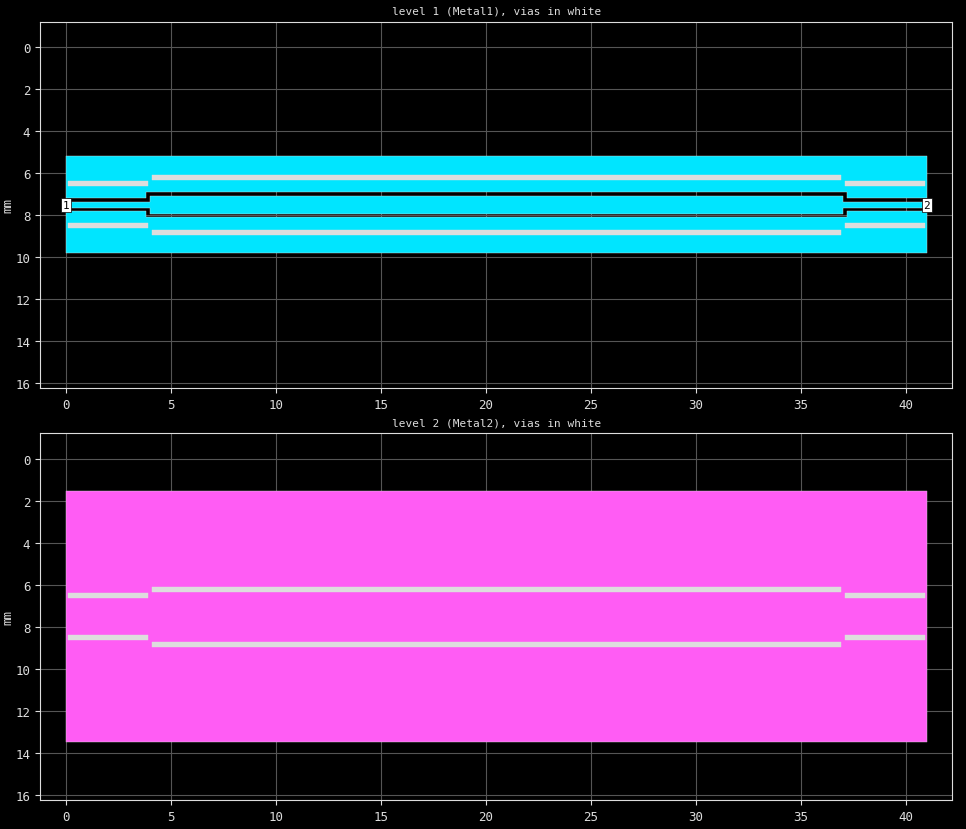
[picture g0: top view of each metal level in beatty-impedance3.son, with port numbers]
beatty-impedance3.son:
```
FTYP SONPROJ 19 ! Sonnet Project File
VER 18.01
HEADER
LIC antikernel2.1.51012 90e2ba8817c1 havequick azonenberg Level3Gold
DAT 08/25/2021 15:50:59
BUILT_BY_CREATED dxf 17.52.2 05/01/2020 05:35:06
BUILT_BY_SAVED sonnet 18.01
MDATE 08/25/2021 15:50:59
HDATE 08/25/2021 15:50:59
ANN Created by dxfgeo, Sonnet Software Inc.
END HEADER
DIM
ANG DEG
CAP PF
CON /OH
FREQ GHZ
IND NH
LNG MM
RES OH
END DIM
CONTROL
VARSWP
OPTIONS  -dj
SPEED 1
CACHE_ABS 1
Q_ACC N
END CONTROL
GEO
SYM
DRP1 LEFT NONE 10
DRP1 RIGHT NONE 10
TMET "Free Space" 0 FREESPACE 376.7303136 0 0 0
BMET "Free Space" 0 FREESPACE 376.7303136 0 0 0
MET "Copper 1oz thick" 2 TMM 58000000 0.5 0.035 2
MET "Nickel " 3 TMM 14300000 0.5 3.5e-05 2
MET "Copper 0.5oz" 1 NOR 58000000 0.5 0.0175 
MET "Unknown_metal" 1 NOR INF 0.5 0 
MET "Copper 0.25mm thick" 4 TMM 58000000 0.5 0.25 2
MET "Brass 0.8mm" 11 TMM 15700000 0.5 0.8 2
MET "Unknown_metal" 1 VOL INF 0
BRI "Alumina (96%)" 0 9.4 0.0004 0 
BRI "Alumina (99.5%)" 0 9.9 0.0001 0 
BRI "Aluminum Nitride" 0 8.6 0.0003 0 
BRI "Arlon 25FR" 0 3.58 0.0035 0 
BRI "Arlon 25N" 0 3.38 0.0025 0 
BRI "Arlon AD5" 0 5.1 0.003 0 
BRI "Arlon AD10" 0 10.2 0.005 0 
BRI "Arlon AD250" 0 2.5 0.0018 0 
BRI "Arlon AD255A" 0 2.55 0.0015 0 
BRI "Arlon AD260A" 0 2.6 0.0018 0 
BRI "Arlon AD270" 0 2.7 0.0023 0 
BRI "Arlon AD300A" 0 3 0.002 0 
BRI "Arlon AD320A" 0 3.2 0.0032 0 
BRI "Arlon AD350A" 0 3.5 0.003 0 
BRI "Arlon AD410" 0 4.1 0.003 0 
BRI "Arlon AD430" 0 4.3 0.003 0 
BRI "Arlon AD450" 0 4.5 0.0035 0 
BRI "Arlon AD600" 0 6.15 0.003 0 
BRI "Arlon AD1000" 0 10.2 0.0023 0 
BRI "Arlon AR1000" 0 9.8 0.003 0 
BRI "Arlon CLTE" 0 2.96 0.0023 0 
BRI "Arlon CLTE-AT" 0 3 0.0013 0 
BRI "Arlon CLTE-P" 0 2.94 0.0025 0 
BRI "Arlon CLTE-XT" 0 2.94 0.0012 0 
BRI "Arlon Cu 217LX" 0 2.17 0.0009 0 
BRI "Arlon Cu 233LX" 0 2.33 0.0013 0 
BRI "Arlon Cu 250GT" 0 2.5 0.001 0 
BRI "Arlon Cu 250GX" 0 2.5 0.0018 0 
BRI "Arlon Cu 6250" 0 2.32 0.0013 0 
BRI "Arlon Cu 6700" 0 2.35 0.0025 0 
BRI "Arlon Di 522" 0 2.5 0.001 0 
BRI "Arlon Di 527" 0 2.5 0.0018 0 
BRI "Arlon Di 870" 0 2.33 0.0013 0 
BRI "Arlon Di 880" 0 2.17 0.0009 0 
BRI "Arlon Iso 917" 0 2.17 0.0013 0 
BRI "Arlon Iso 933" 0 2.33 0.0016 0 
BRI "Arlon Multi HF" 0 3.7 0.004 0 
BRI "Arlon TC350" 0 3.5 0.002 0 
BRI "Arlon TC600" 0 6.15 0.002 0 
BRI "Beryllia (99.5%)" 0 6.5 0.0004 0 
BRI "CEM-1" 0 4.5 0.02 0 
BRI "CEM-3" 0 4.5 0.02 0 
BRI "Dupont 9K7" 0 7.1 0.0012 0 
BRI "Dupont 943" 0 7.4 0.002 0 
BRI "Dupont 951" 0 7.8 0.006 0 
BRI "Dupont FEP" 0 2 0.0005 0 
BRI "Dupont Vacrel" 0 3.8 0.011 0 
BRI "ESL 41010" 0 7.5 0.005 0 
BRI "ESL 41020" 0 7.25 0.005 0 
BRI "ESL 41050" 0 13.5 0.002 0 
BRI "ESL 41060" 0 16.5 0.002 0 
BRI "ESL 41110" 0 4.5 0.004 0 
BRI "Ferro A6M" 0 5.9 0.002 0 
BRI "Ferro A6S" 0 5.9 0.002 0 
BRI "Ferro L8" 0 7.3 0.0018 0 
BRI "FR-4" 0 4.4 0.02 0 
BRI "G-10" 0 4.8 0.025 0 
BRI "Gallium Arsenide" 0 12.9 0.006 0 
BRI "Gallium Nitride" 0 9.7 0 0 
BRI "Glass (Pyrex)" 0 4.82 0.0054 0 
BRI "Heraeus HL2000" 0 7.3 0.0026 0 
BRI "Isola 370HR" 0 4.04 0.021 0 
BRI "Isola FR408" 0 3.77 0.0116 0 
BRI "Isola FR408HR" 0 3.68 0.0092 0 
BRI "Isola Getek" 0 3.6 0.01 0 
BRI "Isola GI-180" 0 3.7 0.013 0 
BRI "Isola IS415" 0 3.82 0.0125 0 
BRI "Isola IS620i" 0 3.58 0.006 0 
BRI "Isola IS680-280" 0 2.8 0.0025 0 
BRI "Isola IS680-300" 0 3 0.003 0 
BRI "Isola IS680-320" 0 3.2 0.003 0 
BRI "Isola IS680-333" 0 3.33 0.003 0 
BRI "Isola IS680-338" 0 3.38 0.0032 0 
BRI "Isola IS680-345" 0 3.45 0.0036 0 
BRI "Kerafol CT800" 0 5.3 0.008 0 
BRI "Nelco MW9350" 0 3.7 0.004 0 
BRI "Nelco N4000-12" 0 3.7 0.008 0 
BRI "Nelco N4000-13" 0 3.7 0.009 0 
BRI "Nelco N4000-13SI" 0 3.2 0.007 0 
BRI "Nelco N4000-13EP" 0 3.7 0.008 0 
BRI "Nelco N4350-13RF" 0 3.5 0.0065 0 
BRI "Nelco N4380-13RF" 0 3.8 0.007 0 
BRI "Nelco N9300-13RF" 0 3 0.004 0 
BRI "Nelco N9320-13RF" 0 3.2 0.0045 0 
BRI "Nelco N9338-13RF" 0 3.38 0.0046 0 
BRI "Nelco N9350-13RF" 0 3.48 0.0055 0 
BRI "Nelco NH9294" 0 2.94 0.0022 0 
BRI "Nelco NH9300" 0 3 0.0023 0 
BRI "Nelco NH9320" 0 3.2 0.0024 0 
BRI "Nelco NH9338" 0 3.38 0.0025 0 
BRI "Nelco NH9348" 0 3.48 0.003 0 
BRI "Nelco NH9350" 0 3.5 0.003 0 
BRI "Nelco NH9410" 0 4.1 0.003 0 
BRI "Nelco NH9450" 0 4.5 0.003 0 
BRI "Nelco NX9240" 0 2.4 0.0016 0 
BRI "Nelco NX9245" 0 2.45 0.0016 0 
BRI "Nelco NX9250" 0 2.5 0.0017 0 
BRI "Nelco NX9255" 0 2.55 0.0018 0 
BRI "Nelco NX9260" 0 2.6 0.0019 0 
BRI "Nelco NY9208" 0 2.08 0.0006 0 
BRI "Nelco NY9217" 0 2.17 0.0008 0 
BRI "Nelco NY9220" 0 2.2 0.0009 0 
BRI "Nelco NY9233" 0 2.33 0.0011 0 
BRI "PET" 0 3.37 0.0208 0 
BRI "Polyimide" 0 3.5 0.003 0 
BRI "Quartz (Fused)" 0 3.78 0.0001 0 
BRI "Rogers 3001" 0 2.28 0.003 0 
BRI "Rogers RO2808" 0 7.6 0.0015 0 
BRI "Rogers RO3003" 0 3 0.0013 0 
BRI "Rogers RO3006" 0 6.5 0.002 0 
BRI "Rogers RO3010" 0 11.2 0.0022 0 
BRI "Rogers RO3035" 0 3.6 0.0018 0 
BRI "Rogers RO3203" 0 3.02 0.0016 0 
BRI "Rogers RO3206" 0 6.6 0.0027 0 
BRI "Rogers RO3210" 0 10.8 0.0027 0 
BRI "Rogers RO3730" 0 3 0.0016 0 
BRI "Rogers RO4003C" 0 3.55 0.0029 0 
BRI "Rogers RO4533" 0 3.45 0.0029 0 
BRI "Rogers RO4534" 0 3.4 0.003 0 
BRI "Rogers RO4350B" 0 3.66 0.0037 0 
BRI "Rogers RO4350BTX" 0 3.66 0.0034 0 
BRI "Rogers RO4360" 0 6.15 0.0038 0 
BRI "Rogers RO4450B-3.6" 0 3.3 0.0043 0 
BRI "Rogers RO4450B-4" 0 3.54 0.004 0 
BRI "Rogers RO4450F" 0 3.52 0.0041 0 
BRI "Rogers RO4730" 0 3 0.0033 0 
BRI "Rogers RT5870" 0 2.33 0.0012 0 
BRI "Rogers RT5880" 0 2.2 0.0009 0 
BRI "Rogers RT5880LZ" 0 1.96 0.0019 0 
BRI "Rogers RT6002" 0 2.94 0.0012 0 
BRI "Rogers RT6006" 0 6.15 0.0027 0 
BRI "Rogers RT6010LM" 0 10.9 0.0023 0 
BRI "Rogers RT6035HTC" 0 3.6 0.0013 0 
BRI "Rogers RT6202" 0 2.94 0.0015 0 
BRI "Rogers RT6202PR" 0 2.95 0.0015 0 
BRI "Rogers Syron7000" 0 3.4 0.0045 0 
BRI "Rogers Syron7100-2" 0 3.61 0.006 0 
BRI "Rogers Syron7100-4" 0 3.39 0.005 0 
BRI "Rogers Theta" 0 4.01 0.0118 0 
BRI "Rogers TMM 3" 0 3.39 0.002 0 
BRI "Rogers TMM 4" 0 4.5 0.002 0 
BRI "Rogers TMM 6" 0 6 0.0023 0 
BRI "Rogers TMM 10" 0 9.56 0.0022 0 
BRI "Rogers TMM 10i" 0 9.96 0.002 0 
BRI "Rogers UL2000" 0 2.5 0.0019 0 
BRI "Rogers UL3850" 0 3.05 0.0025 0 
BRI "Rogers UL3908" 0 2.9 0.0025 0 
BRI "Rogers XT8000" 0 3.34 0.0035 0 
BRI "Rogers XT8100-2" 0 3.54 0.0049 0 
BRI "Rogers XT8100-4" 0 3.32 0.0038 0 
BRI "Silicon (intrinsic)" 0 11.9 0.004 0.00044 
BRI "Silicon Dioxide" 0 3.9 0 0 
BRI "Silicon Nitride" 0 7.5 0 0 
BRI "Taconic CER-10" 0 10 0.0035 0 
BRI "Taconic FastFilm" 0 2.7 0.0012 0 
BRI "Taconic Fastrise-DS" 0 2.96 0.0018 0 
BRI "Taconic Fastrise27" 0 2.7 0.0014 0 
BRI "Taconic Fastrise77" 0 7.7 0.0034 0 
BRI "Taconic FEP" 0 2 0.0003 0 
BRI "Taconic RF-30" 0 3 0.0014 0 
BRI "Taconic RF-35" 0 3.5 0.0018 0 
BRI "Taconic RF-35A2" 0 3.5 0.0011 0 
BRI "Taconic RF-35P" 0 3.5 0.0025 0 
BRI "Taconic RF-41" 0 4.1 0.0038 0 
BRI "Taconic RF-43" 0 4.3 0.0033 0 
BRI "Taconic RF-45" 0 4.5 0.0037 0 
BRI "Taconic RF-60A" 0 6.15 0.0038 0 
BRI "Taconic RF-301" 0 2.97 0.0012 0 
BRI "Taconic TacBond HT" 0 2.35 0.0025 0 
BRI "Taconic TLA-6" 0 2.62 0.0012 0 
BRI "Taconic TLC-27" 0 2.75 0.003 0 
BRI "Taconic TLC-30" 0 3 0.003 0 
BRI "Taconic TLC-32" 0 3.2 0.003 0 
BRI "Taconic TLE-95" 0 2.95 0.0028 0 
BRI "Taconic TLF-34" 0 3.4 0.002 0 
BRI "Taconic TLF-35" 0 3.5 0.002 0 
BRI "Taconic TLP-3" 0 2.33 0.0009 0 
BRI "Taconic TLP-5" 0 2.2 0.0009 0 
BRI "Taconic TLP-5A" 0 2.17 0.0009 0 
BRI "Taconic TLT-0" 0 2.45 0.0006 0 
BRI "Taconic TLT-9" 0 2.5 0.0006 0 
BRI "Taconic TLT-8" 0 2.55 0.0006 0 
BRI "Taconic TLT-7" 0 2.6 0.0006 0 
BRI "Taconic TLT-6" 0 2.65 0.0006 0 
BRI "Taconic TLX-0" 0 2.45 0.0019 0 
BRI "Taconic TLX-9" 0 2.5 0.0019 0 
BRI "Taconic TLX-8" 0 2.55 0.0019 0 
BRI "Taconic TLX-7" 0 2.6 0.0019 0 
BRI "Taconic TLX-6" 0 2.65 0.0019 0 
BRI "Taconic TLY-3" 0 2.33 0.0009 0 
BRI "Taconic TLY-3F" 0 2.33 0.0009 0 
BRI "Taconic TLY-5" 0 2.2 0.0009 0 
BRI "Taconic TLY-5-L" 0 2.2 0.0009 0 
BRI "Taconic TLY-5A" 0 2.17 0.0009 0 
BRI "Taconic TLY-5A-L" 0 2.17 0.0009 0 
BRI "Taconic TPG-30" 0 3 0.0038 0 
BRI "Taconic TPG-32" 0 3.2 0.005 0 
BRI "Taconic TPG-35" 0 3.5 0.005 0 
BRI "Taconic TRF-41" 0 4.1 0.0035 0 
BRI "Taconic TRF-43" 0 4.3 0.0035 0 
BRI "Taconic TRF-45" 0 4.5 0.0035 0 
BRI "Taconic TSM-DS" 0 2.85 0.001 0 
BRI "Taconic TSM-DS3" 0 3 0.0011 0 
BRI "Taconic TSM-26" 0 2.6 0.0014 0 
BRI "Taconic TSM-29" 0 2.94 0.0013 0 
BRI "Taconic TSM-30" 0 3 0.0013 0 
BRI "Teflon (PTFE)" 0 2.08 0.0004 0 
BOX 3 41 15 3280 3000 20 0
      10 1 1 0 0 0 0 "Air"
      0.8 1 1 0 0 0 0 "Air"
      0.166 3.66 1 0.0037 0 0 0 "Rogers RO4350B"
      10 1 1 0 0 0 0 "Air"
TECHLAY METAL Metal1 BLACK -2 -65534 
1 0 0 N 2856 1 1 100 100 0 0 0 Y
END
END
TECHLAY METAL Metal2 BLACK -3 -65534 
2 0 2 N 2861 1 1 100 100 0 0 0 Y
END
END
TECHLAY VIA Via1 <UNSPECIFIED> -4 -65534 
VIA POLYGON
2 0 -1 N 2863 1 1 100 100 0 0 0 Y
TOLEVEL 1 RING NOCOVERS
END
END
VALVAR BOTLEN LNG 2 "Dim. Param."
VALVAR TOPLEN LNG 3 "Dim. Param."
VALVAR WIDTH25 LNG 0.89 "Dim. Param."
VALVAR RESLEN LNG 33 "Dim. Param."
LORGN 0 15 U 
POR1 BOX
POLY 2609 1
1
2 50 0 0 0 41 7.5 
POR1 BOX
POLY 2609 1
7
1 50 0 0 0 0 7.5 
NUM 10
1 13 0 N 2609 1 1 100 100 0 0 0 Y
TLAYNAM Metal1 INH
USER_DAT FromImport
37 7.655
41 7.655
41 7.345
37 7.345
37 7.055
4 7.055
4 7.345
0 7.345
0 7.655
4 7.655
4 7.945
37 7.945
37 7.655
END
1 13 0 N 2629 1 1 100 100 0 0 0 Y
TLAYNAM Metal1 INH
41 5.5
41 5.5
41 5.19
0 5.19
0 5.5
0 5.5
0 7.195
3.8 7.195
3.8 6.905
37.2 6.905
37.2 7.195
41 7.195
41 5.5
END
1 13 0 N 2630 1 1 100 100 0 0 0 Y
TLAYNAM Metal1 INH
41 9.5
41 9.5
41 7.805
37.2 7.805
37.2 8.095
3.8 8.095
3.8 7.805
0 7.805
0 9.5
0 9.5
0 9.81
41 9.81
41 9.5
END
2 5 2 N 2484 1 1 100 100 0 0 0 Y
TLAYNAM Metal2 INH
41 1.52
0 1.52
0 13.47
41 13.47
41 1.52
END
VIA POLYGON
2 5 -1 N 2485 1 1 100 100 0 0 0 Y
TOLEVEL 1 RING NOCOVERS
TLAYNAM Via1 INH
USER_DAT FromImport
36.9 6.065
4.1 6.065
4.1 6.315
36.9 6.315
36.9 6.065
END
VIA POLYGON
2 5 -1 N 2486 1 1 100 100 0 0 0 Y
TOLEVEL 1 RING NOCOVERS
TLAYNAM Via1 INH
USER_DAT FromImport
36.9 8.685
4.1 8.685
4.1 8.935
36.9 8.935
36.9 8.685
END
VIA POLYGON
2 5 -1 N 2621 1 1 100 100 0 0 0 Y
TOLEVEL 1 RING NOCOVERS
TLAYNAM Via1 INH
USER_DAT FromImport
40.9 8.375
37.1 8.375
37.1 8.625
40.9 8.625
40.9 8.375
END
VIA POLYGON
2 5 -1 N 2622 1 1 100 100 0 0 0 Y
TOLEVEL 1 RING NOCOVERS
TLAYNAM Via1 INH
USER_DAT FromImport
3.9 8.375
0.1 8.375
0.1 8.625
3.9 8.625
3.9 8.375
END
VIA POLYGON
2 5 -1 N 2623 1 1 100 100 0 0 0 Y
TOLEVEL 1 RING NOCOVERS
TLAYNAM Via1 INH
USER_DAT FromImport
40.9 6.375
37.1 6.375
37.1 6.625
40.9 6.625
40.9 6.375
END
VIA POLYGON
2 5 -1 N 2624 1 1 100 100 0 0 0 Y
TOLEVEL 1 RING NOCOVERS
TLAYNAM Via1 INH
USER_DAT FromImport
3.9 6.375
0.1 6.375
0.1 6.625
3.9 6.625
3.9 6.375
END
END GEO
OPT
MAX 100
END OPT
VARSWP
ENABLED Y
FREQ Y AY ABS_ENTRY 0.01 22.0 -1 300 
VAR WIDTH25 N 0.93 0.93 UNDEF
VAR RESLEN N 25.0 25.0 UNDEF
END
END VARSWP
3DOPTIONS
GLOBAL 1
ALL 3 1
END 3DOPTIONS
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```
